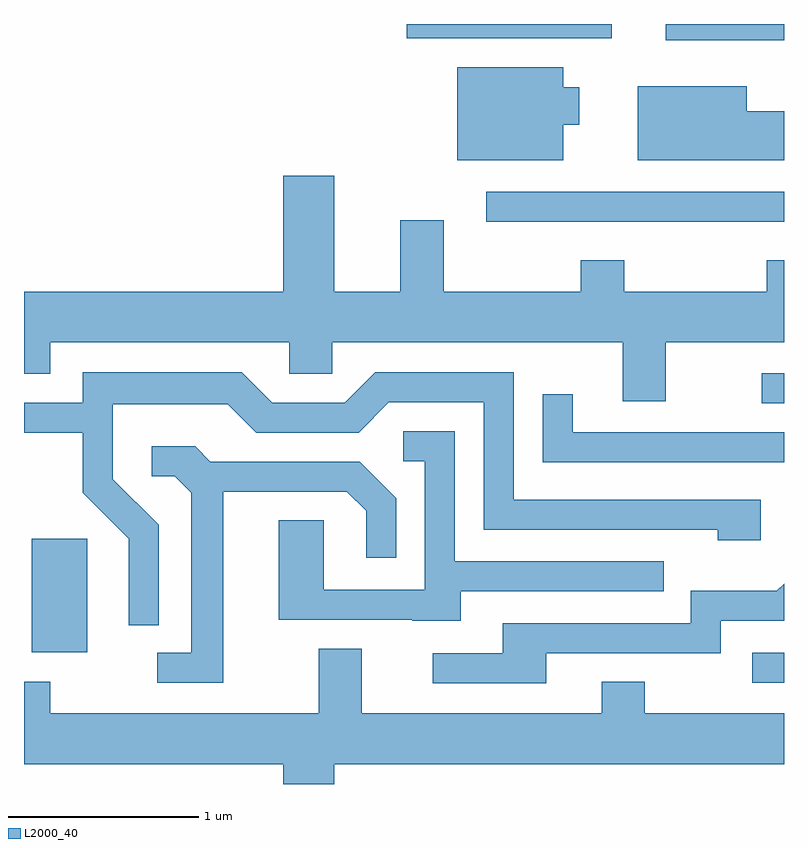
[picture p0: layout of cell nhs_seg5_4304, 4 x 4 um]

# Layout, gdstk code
import gdstk
lib = gdstk.Library(unit=1e-6, precision=1e-09)
def R(c, l, rs):  # rectangles x0, y0, x1, y1
    for r in rs: c.add(gdstk.rectangle(r[:2], r[2:], *l))
def P(c, l, *ps):  # polygons
    for p in ps: c.add(gdstk.Polygon(p, *l))
L2000_40 = (2000, 40)

nhs_seg5_4304 = lib.new_cell('nhs_seg5_4304')
R(nhs_seg5_4304, L2000_40, [(317.443,1410.606,317.611,1410.764), (313.651,1410.766,313.944,1411.364), (317.493,1412.076,317.611,1412.234), (316.043,1413.031,317.611,1413.189), (316.988,1413.986,317.611,1414.072), (315.626,1413.996,316.704,1414.072)])
P(nhs_seg5_4304, L2000_40, [(316.449,1413.541),(316.534,1413.541),(316.534,1413.739),(316.449,1413.739),(316.449,1413.844),(315.891,1413.844),(315.891,1413.356),(316.449,1413.356)],
  [(317.611,1413.614),(317.414,1413.614),(317.414,1413.744),(316.841,1413.744),(316.841,1413.356),(317.611,1413.356)],
  [(316.989,1412.396),(317.611,1412.396),(317.611,1412.829),(317.521,1412.829),(317.521,1412.664),(316.769,1412.664),(316.769,1412.829),(316.541,1412.829),(316.541,1412.664),(315.819,1412.664),(315.819,1413.039),(315.591,1413.039),(315.591,1412.664),(315.244,1412.664),(315.244,1413.274),(314.976,1413.274),(314.976,1412.664),(313.611,1412.664),(313.611,1412.231),(313.749,1412.231),(313.749,1412.396),(315.006,1412.396),(315.006,1412.231),(315.234,1412.231),(315.234,1412.396),(316.761,1412.396),(316.761,1412.086),(316.989,1412.086)],
  [(314.319,1411.437),(314.079,1411.677),(314.079,1412.071),(314.684,1412.071),(314.834,1411.921),(315.372,1411.921),(315.532,1412.081),(316.031,1412.081),(316.031,1411.411),(317.261,1411.411),(317.261,1411.356),(317.489,1411.356),(317.489,1411.569),(316.189,1411.569),(316.189,1412.239),(315.459,1412.239),(315.299,1412.079),(314.917,1412.079),(314.757,1412.239),(313.921,1412.239),(313.921,1412.079),(313.611,1412.079),(313.611,1411.921),(313.921,1411.921),(313.921,1411.604),(314.161,1411.364),(314.161,1410.908),(314.319,1410.908)],
  [(317.611,1411.924),(316.499,1411.924),(316.499,1412.123),(316.341,1412.123),(316.341,1411.766),(317.611,1411.766)],
  [(315.909,1411.086),(316.978,1411.086),(316.978,1411.244),(315.879,1411.244),(315.879,1411.929),(315.608,1411.929),(315.608,1411.771),(315.721,1411.771),(315.721,1411.094),(315.189,1411.094),(315.189,1411.459),(314.951,1411.459),(314.951,1410.936),(315.655,1410.936),(315.655,1410.931),(315.909,1410.931)],
  [(314.659,1411.611),(315.309,1411.611),(315.411,1411.509),(315.411,1411.263),(315.569,1411.263),(315.569,1411.577),(315.377,1411.769),(314.592,1411.769),(314.512,1411.849),(314.283,1411.849),(314.283,1411.691),(314.404,1411.691),(314.491,1411.604),(314.491,1410.764),(314.313,1410.764),(314.313,1410.606),(314.659,1410.606)],
  [(316.359,1410.761),(317.279,1410.761),(317.279,1410.931),(317.611,1410.931),(317.611,1411.126),(317.574,1411.089),(317.121,1411.089),(317.121,1410.919),(316.131,1410.919),(316.131,1410.759),(315.763,1410.759),(315.763,1410.601),(316.359,1410.601)],
  [(315.244,1410.176),(317.611,1410.176),(317.611,1410.444),(316.879,1410.444),(316.879,1410.609),(316.651,1410.609),(316.651,1410.444),(315.389,1410.444),(315.389,1410.784),(315.161,1410.784),(315.161,1410.444),(313.749,1410.444),(313.749,1410.609),(313.611,1410.609),(313.611,1410.176),(314.976,1410.176),(314.976,1410.072),(315.244,1410.072)])

lib.write_gds('nhs_seg5_4304.gds')
